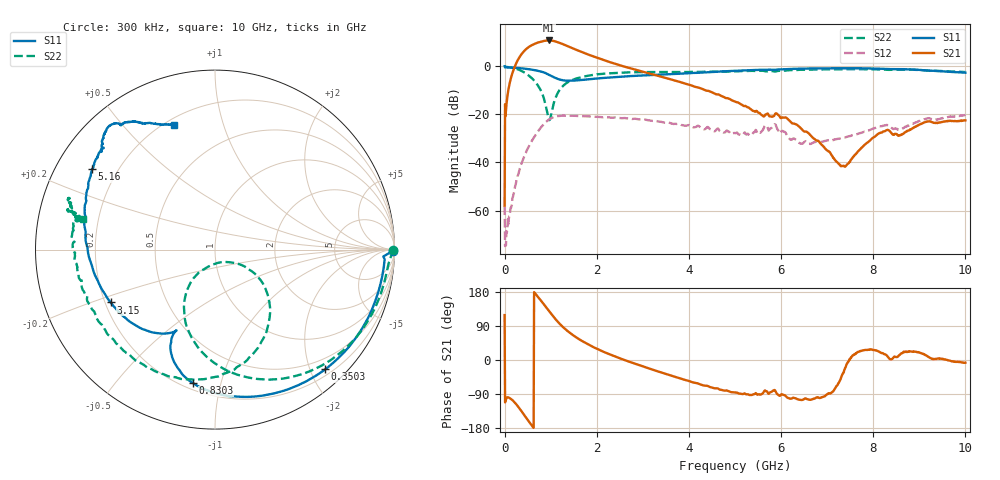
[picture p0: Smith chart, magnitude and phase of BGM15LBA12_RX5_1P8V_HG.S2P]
!Agilent Technologies,E5071C,MY46316587,B.13.01
!Date: Thu Dec 07 13:59:46 2017
!Data & Calibration Information:
!Freq	S11:SOLT2(ON)	S21:SOLT2(ON)	S12:SOLT2(ON)	S22:SOLT2(ON)
!PortZ  Port1:50+j0  Port2:50+j0
!Above PortZ is port z conversion or system Z0 setting when saving the data.
!When reading, reference impedance value at option line is always used.
# Hz S dB R 50
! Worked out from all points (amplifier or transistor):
!   1001 points, 300 kHz to 10 GHz, reference 50 ohm
!   highest |S21| = 10.7 dB at 970.3 MHz (marker M1)
!   |S21| within 3 dB of that: 505.8 MHz to 1.446 GHz (940 MHz wide, 96.3 % of centre)
!   unconditionally stable (mu >= 1): start of sweep to end of sweep
!   at 1.66 GHz: K = 1.40, MAG = 9.6 dB, |S12| = -20.7 dB
!   at 5 GHz: K = 9.03, MAG = -6.0 dB, |S12| = -27.8 dB
!   at 10 GHz: K = 13.74, MAG = -15.5 dB, |S12| = -20.3 dB
!   lowest NFmin = 1.10 dB at 700 MHz
!   S11 on the Smith chart (normalised r, x): 300 kHz: open; 350.3 MHz: 0.30, -2.25; 830.3 MHz: 0.24, -0.82; 3.15 GHz: 0.22, -0.23; 5.16 GHz: 0.11, +0.29; 10 GHz: 0.23, +0.70
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300000  -0.07 -0.4  -57.94 118.5  -58.22 -135.7  -0.07 -0.1
6.02982e7  -0.50 -8.8  -12.54 -98.6  -67.68 152.1  -0.35 -11.4
2.102937e8  -0.64 -29.2  -0.69 -111.0  -51.98 157.3  -0.84 -38.3
3.502895e8  -0.85 -47.3  4.54 -132.3  -41.26 157.9  -1.81 -62.3
4.702859e8  -1.11 -61.8  7.14 -152.9  -35.45 149.2  -3.13 -81.4
6.102817e8  -1.50 -77.3  8.93 -176.0  -30.50 137.1  -5.35 -101.2
7.202784e8  -1.90 -88.7  9.80 166.9  -27.21 125.6  -7.92 -115.1
8.302751e8  -2.45 -99.4  10.37 150.4  -24.48 113.3  -12.11 -125.7
9.702709e8  -3.61 -110.5  10.69 128.3  -22.09 94.0  -22.41 -79.3
1.120266e9  -5.02 -115.8  10.18 105.5  -20.88 74.2  -12.50 -30.5
1.310261e9  -5.96 -115.7  8.79 82.2  -20.58 55.1  -7.51 -44.0
1.67025e9  -5.73 -117.0  5.92 50.8  -20.74 33.8  -4.49 -66.1
2.280232e9  -4.66 -128.6  1.70 14.9  -21.32 13.5  -2.96 -90.5
3.150206e9  -3.73 -153.1  -3.07 -23.1  -22.57 -6.5  -2.45 -117.7
3.3402e9  -3.54 -159.4  -4.04 -30.7  -22.98 -10.0  -2.44 -123.7
5.00015e9  -1.90 150.1  -14.72 -85.6  -27.80 -12.6  -2.15 -177.6
5.160145e9  -1.75 146.9  -16.16 -89.9  -28.59 -6.8  -2.01 178.3
5.860124e9  -1.52 137.6  -20.23 -79.1  -24.16 -14.1  -2.22 166.2
6.6701e9  -0.96 132.9  -29.39 -104.1  -32.01 6.3  -1.40 161.5
7.35008e9  -0.85 130.9  -41.45 -33.5  -29.72 28.6  -1.28 160.7
8.34005e9  -1.23 127.1  -26.69 4.5  -24.66 19.5  -1.54 163.0
1e10  -2.70 108.2  -22.53 -7.2  -20.27 8.9  -2.45 166.8
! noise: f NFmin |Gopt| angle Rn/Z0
6.5e+08  1.171  0.5383  68.82  0.2768
7e+08  1.103  0.521  70.21  0.2611
7.5e+08  1.12  0.5038  72.76  0.2414
8e+08  1.146  0.51  75.55  0.2234
8.5e+08  1.161  0.498  80.56  0.2099
9e+08  1.188  0.4894  82.41  0.2148
9.5e+08  1.194  0.4874  84.36  0.2319
1e+09  1.206  0.4279  89.99  0.1913
